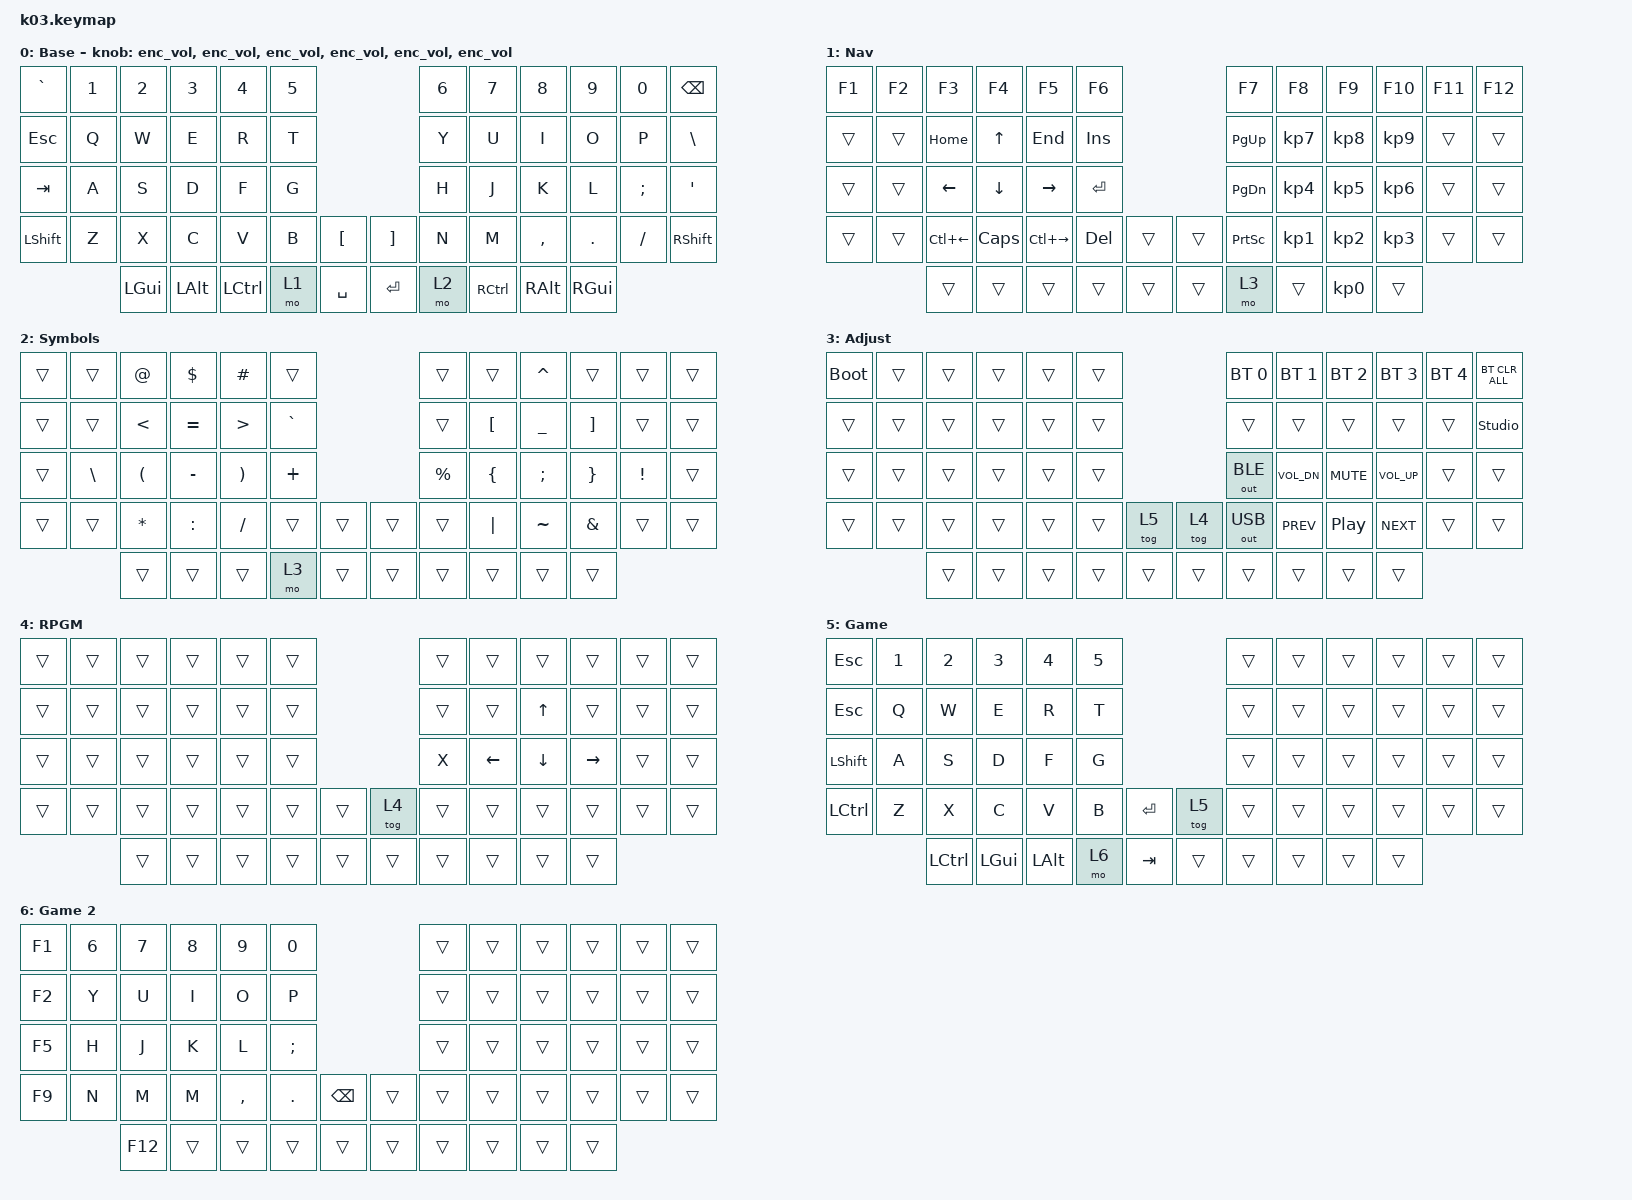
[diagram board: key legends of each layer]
#include "keys_ru.h"
#include <behaviors.dtsi>
#include <dt-bindings/zmk/bt.h>
#include <dt-bindings/zmk/keys.h>
#include <dt-bindings/zmk/outputs.h>

/ {
    behaviors {
        enc_vol: enc_vol {
            compatible = "zmk,behavior-sensor-rotate";
            label = "ENC_VOL";
            #sensor-binding-cells = <0>;
            bindings = <&kp C_VOL_UP>, <&kp C_VOL_DN>;
        };
    };

    keymap {
        compatible = "zmk,keymap";

        base {
            bindings = <
&kp GRAVE  &kp N1  &kp N2    &kp N3    &kp N4     &kp N5                          &kp N6  &kp N7     &kp N8     &kp N9    &kp N0    &kp BSPC
&kp ESC    &kp Q   &kp W     &kp E     &kp R      &kp T                           &kp Y   &kp U      &kp I      &kp O     &kp P     &kp BSLH
&kp TAB    &kp A   &kp S     &kp D     &kp F      &kp G                           &kp H   &kp J      &kp K      &kp L     &kp SEMI  &kp SQT
&kp LSHFT  &kp Z   &kp X     &kp C     &kp V      &kp B   &kp LBKT     &kp RBKT   &kp N   &kp M      &kp COMMA  &kp DOT   &kp FSLH  &kp RSHFT
                   &kp LGUI  &kp LALT  &kp LCTRL  &mo 1   &kp SPACE    &kp ENTER  &mo 2   &kp RCTRL  &kp RALT   &kp RGUI
            >;

            display-name = "Base";
            sensor-bindings =
                <&enc_vol>,
                <&enc_vol>,
                <&enc_vol>,
                <&enc_vol>,
                <&enc_vol>,
                <&enc_vol>;
        };

        nav {
            bindings = <
&kp F1  &kp F2  &kp F3        &kp F4    &kp F5         &kp F6                     &kp F7           &kp F8           &kp F9     &kp F10    &kp F11  &kp F12
&trans  &trans  &kp HOME      &kp UP    &kp END        &kp INS                    &kp PG_UP        &kp KP_N7        &kp KP_N8  &kp KP_N9  &trans   &trans
&trans  &trans  &kp LEFT      &kp DOWN  &kp RIGHT      &kp RET                    &kp PG_DN        &kp KP_NUMBER_4  &kp KP_N5  &kp KP_N6  &trans   &trans
&trans  &trans  &kp LC(LEFT)  &kp CAPS  &kp LC(RIGHT)  &kp DEL  &trans    &trans  &kp PRINTSCREEN  &kp KP_NUMBER_1  &kp KP_N2  &kp KP_N3  &trans   &trans
                &trans        &trans    &trans         &trans   &trans    &trans  &mo 3            &trans           &kp KP_N0  &trans
            >;

            display-name = "Nav";
        };

        sym {
            bindings = <
&trans  &trans    &kp AT    &kp DLLR   &kp HASH  &trans                       &trans     &trans    &kp CARET  &trans    &trans    &trans
&trans  &trans    &kp LT    &kp EQUAL  &kp GT    &kp GRAVE                    &trans     &kp LBKT  &kp UNDER  &kp RBKT  &trans    &trans
&trans  &kp BSLH  &kp LPAR  &kp MINUS  &kp RPAR  &kp PLUS                     &kp PRCNT  &kp LBRC  &kp SEMI   &kp RBRC  &kp EXCL  &trans
&trans  &trans    &kp STAR  &kp COLON  &kp FSLH  &trans     &trans    &trans  &trans     &kp PIPE  &kp TILDE  &kp AMPS  &trans    &trans
                  &trans    &trans     &trans    &mo 3      &trans    &trans  &trans     &trans    &trans     &trans
            >;

            display-name = "Symbols";
        };

        adj {
            bindings = <
&bootloader  &trans  &trans  &trans  &trans  &trans                    &bt BT_SEL 0  &bt BT_SEL 1  &bt BT_SEL 2      &bt BT_SEL 3  &bt BT_SEL 4  &bt BT_CLR_ALL
&trans       &trans  &trans  &trans  &trans  &trans                    &trans        &trans        &trans            &trans        &trans        &studio_unlock
&trans       &trans  &trans  &trans  &trans  &trans                    &out OUT_BLE  &kp C_VOL_DN  &kp C_MUTE        &kp C_VOL_UP  &trans        &trans
&trans       &trans  &trans  &trans  &trans  &trans  &tog 5    &tog 4  &out OUT_USB  &kp C_PREV    &kp C_PLAY_PAUSE  &kp C_NEXT    &trans        &trans
                     &trans  &trans  &trans  &trans  &trans    &trans  &trans        &trans        &trans            &trans
            >;

            display-name = "Adjust";
        };

        rpgm {
            bindings = <
&trans  &trans  &trans  &trans  &trans  &trans                    &trans  &trans          &trans          &trans           &trans  &trans
&trans  &trans  &trans  &trans  &trans  &trans                    &trans  &trans          &kp UP_ARROW    &trans           &trans  &trans
&trans  &trans  &trans  &trans  &trans  &trans                    &kp X   &kp LEFT_ARROW  &kp DOWN_ARROW  &kp RIGHT_ARROW  &trans  &trans
&trans  &trans  &trans  &trans  &trans  &trans  &trans    &tog 4  &trans  &trans          &trans          &trans           &trans  &trans
                &trans  &trans  &trans  &trans  &trans    &trans  &trans  &trans          &trans          &trans
            >;

            label = "RPGM";
        };

        Game {
            bindings = <
&kp ESC    &kp N1  &kp N2     &kp N3    &kp N4    &kp N5                     &trans  &trans  &trans  &trans  &trans  &trans
&kp ESC    &kp Q   &kp W      &kp E     &kp R     &kp T                      &trans  &trans  &trans  &trans  &trans  &trans
&kp LSHFT  &kp A   &kp S      &kp D     &kp F     &kp G                      &trans  &trans  &trans  &trans  &trans  &trans
&kp LCTRL  &kp Z   &kp X      &kp C     &kp V     &kp B   &kp RET    &tog 5  &trans  &trans  &trans  &trans  &trans  &trans
                   &kp LCTRL  &kp LGUI  &kp LALT  &mo 6   &kp TAB    &trans  &trans  &trans  &trans  &trans
            >;

            label = "Game";
        };

        Game_2 {
            bindings = <
&kp F1  &kp N6  &kp N7   &kp N8  &kp N9     &kp N0                        &trans  &trans  &trans  &trans  &trans  &trans
&kp F2  &kp Y   &kp U    &kp I   &kp O      &kp P                         &trans  &trans  &trans  &trans  &trans  &trans
&kp F5  &kp H   &kp J    &kp K   &kp L      &kp SEMI                      &trans  &trans  &trans  &trans  &trans  &trans
&kp F9  &kp N   &kp M    &kp M   &kp COMMA  &kp DOT   &kp BSPC    &trans  &trans  &trans  &trans  &trans  &trans  &trans
                &kp F12  &trans  &trans     &trans    &trans      &trans  &trans  &trans  &trans  &trans
            >;

            label = "Game 2";
        };
    };
};
